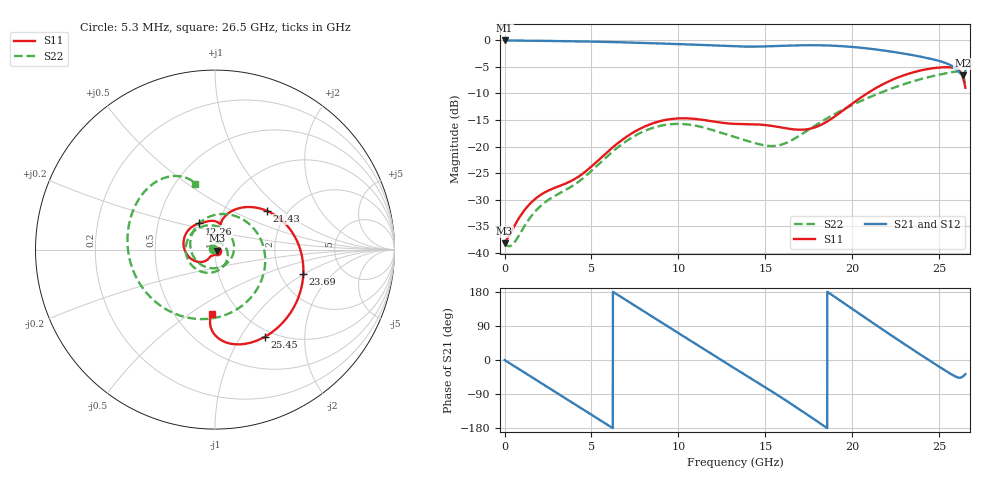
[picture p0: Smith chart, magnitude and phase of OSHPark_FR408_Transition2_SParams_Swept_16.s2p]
! TOUCHSTONE file generated by CST MICROWAVE STUDIO
! Date and time: Tue Jan  7 09:43:25 2020
! Project name: OSHPark_FR408_Transition2.cst
! Parameters = {GND_Plane_XMax=11.75; Cap_Disk_XOffset=0; Cap_Disk2_YCenter=-1.03; Cap_Disk_YCenter=1.03; Cap_Disk_XCenter=7.39; Cap_Disk_Radius=0.5; BottomSupport_Left_YMax=4.76; BottomSupport_Left_YMin=3.74; BottomSupport_Right_YMax=-3.74; BottomSupport_Right_YMin=-4.76; BottomSupport_XMax=11.64; 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
! Header version: 2015
! Port assignment regex: !\s*Touchstone port\s*([0-9]+)\s*=\s*CST MWS port\s*([0-9]+)\s*\(\"(.*)\"\)(\s*mode\s*([0-9]+))?.*
! Touchstone port assignment:
! Touchstone port 1 = CST MWS port 1 ("")
! Touchstone port 2 = CST MWS port 2 ("")
# GHz S MA R 50
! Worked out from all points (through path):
!   5000 points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, 5.3 MHz to 26.5 GHz, reference 50 ohm
!   highest |S21| = 0.00 dB at 5.3 MHz (marker M1); lowest = -6.6 dB at 26.35 GHz (marker M2)
!   group delay of S21, straight-line fit = 81.8 ps
!   lowest |S11| = -38.2 dB at 5.3 MHz (marker M3), VSWR 1.02, Z = 51.1 - j0.525 ohm
!   |S11| at or under -10 dB: start of sweep to 20.84 GHz
!   |S22| runs from -38.8 to -5.9 dB; largest |S21 - S12| = 0
!   S11 on the Smith chart (normalised r, x): 5.3 MHz: 1.02, -0.01; 12.26 GHz: 0.81, +0.24; 21.43 GHz: 1.58, +0.78; 23.69 GHz: 2.68, -0.98; 25.45 GHz: 0.91, -1.28; 26.5 GHz: 0.75, -0.62
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0.0053  0.01227 -24.7  0.9999 -0.2  0.9999 -0.2  0.01236 154.5
1.1183  0.02475 -86.3  0.9961 -32.3  0.9961 -32.3  0.01745 -178.0
2.4062  0.03763 -114.3  0.9903 -69.4  0.9903 -69.4  0.03042 146.3
3.4026  0.04403 -123.0  0.9852 -98.2  0.9852 -98.2  0.03802 100.7
4.4255  0.05435 -124.2  0.9793 -127.7  0.9793 -127.7  0.04891 45.8
5.512  0.07735 -128.4  0.9716 -159.2  0.9716 -159.2  0.07053 -10.2
6.5296  0.108 -140.2  0.9628 171.4  0.9628 171.4  0.09856 -55.5
8.8404  0.1716 178.1  0.9377 104.5  0.9377 104.5  0.155 -142.7
10.3668  0.1845 149.0  0.9198 60.3  0.9198 60.3  0.1625 164.5
12.2642  0.1697 120.7  0.8938 5.5  0.8938 5.5  0.1378 100.6
13.2553  0.1635 110.4  0.88 -22.7  0.88 -22.7  0.1223 64.1
15.5873  0.1544 85.4  0.8854 -89.2  0.8854 -89.2  0.1015 -68.2
16.5943  0.1453 78.8  0.8968 -119.2  0.8968 -119.2  0.1166 -139.5
17.6702  0.1485 77.4  0.9016 -152.2  0.9016 -152.2  0.1505 151.8
19.3079  0.2093 71.0  0.8852 156.5  0.8852 156.5  0.2163 61.6
20.4103  0.2837 56.1  0.8562 121.8  0.8562 121.8  0.265 8.5
21.4332  0.3617 36.5  0.8192 89.9  0.8192 89.9  0.3126 -35.6
22.0851  0.4104 22.4  0.7919 69.8  0.7919 69.8  0.3441 -61.7
23.691  0.5102 -15.3  0.7155 20.9  0.7155 20.9  0.4211 -122.1
25.4506  0.5596 -60.2  0.6049 -31.0  0.6049 -31.0  0.493 171.1
26.3516  0.451 -92.1  0.4694 -43.6  0.4694 -43.6  0.4704 119.4
26.5  0.3579 -92.4  0.5163 -37.3  0.5163 -37.3  0.3795 106.1
